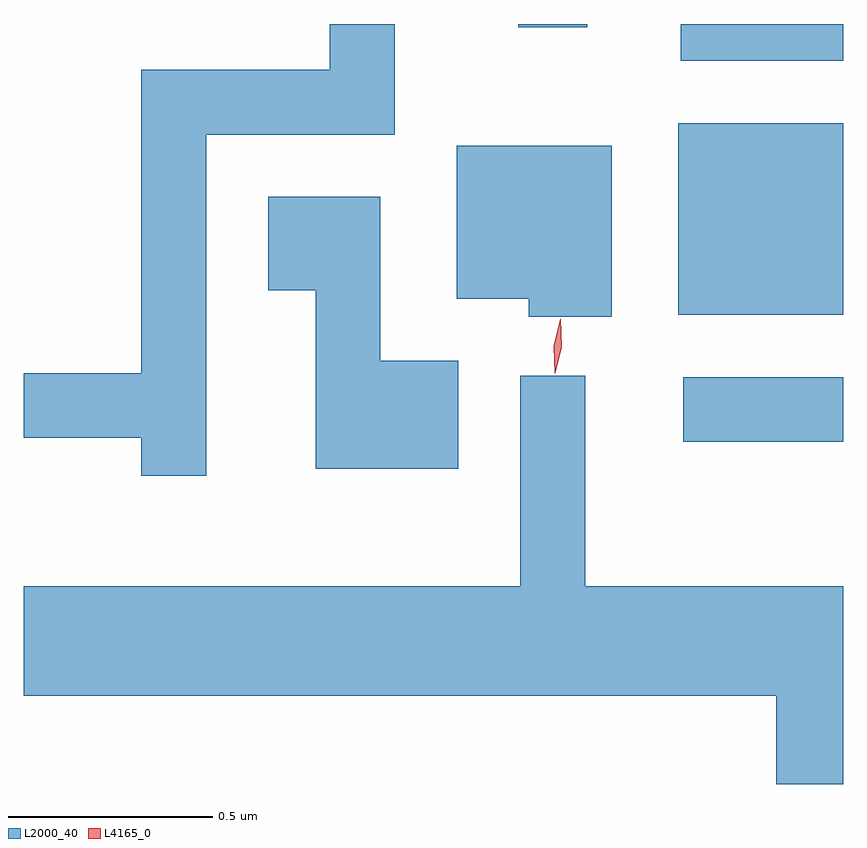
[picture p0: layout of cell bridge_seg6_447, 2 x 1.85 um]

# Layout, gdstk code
import gdstk
lib = gdstk.Library(unit=1e-6, precision=1e-09)
def R(c, l, rs):  # rectangles x0, y0, x1, y1
    for r in rs: c.add(gdstk.rectangle(r[:2], r[2:], *l))
def P(c, l, *ps):  # polygons
    for p in ps: c.add(gdstk.Polygon(p, *l))
L2000_40 = (2000, 40)
L4165_0 = (4165, 0)

bridge_seg6_447 = lib.new_cell('bridge_seg6_447')
R(bridge_seg6_447, L2000_40, [(886.483,1606.156,886.874,1606.314), (886.471,1606.466,886.874,1606.934), (886.478,1607.086,886.874,1607.176), (886.081,1607.168,886.249,1607.176)])
P(bridge_seg6_447, L2000_40, [(885.319,1606.906),(885.779,1606.906),(885.779,1607.176),(885.621,1607.176),(885.621,1607.064),(885.161,1607.064),(885.161,1606.324),(884.874,1606.324),(884.874,1606.166),(885.161,1606.166),(885.161,1606.073),(885.319,1606.073)],
  [(886.309,1606.879),(885.931,1606.879),(885.931,1606.506),(886.106,1606.506),(886.106,1606.461),(886.309,1606.461)],
  [(885.934,1606.354),(885.744,1606.354),(885.744,1606.754),(885.471,1606.754),(885.471,1606.526),(885.586,1606.526),(885.586,1606.091),(885.934,1606.091)],
  [(886.874,1605.804),(886.244,1605.804),(886.244,1606.318),(886.086,1606.318),(886.086,1605.804),(884.874,1605.804),(884.874,1605.536),(886.711,1605.536),(886.711,1605.321),(886.874,1605.321)])
P(bridge_seg6_447, L4165_0, [(886.17,1606.323),(886.17,1606.323),(886.167,1606.39),(886.183,1606.455),(886.183,1606.456),(886.184,1606.455),(886.187,1606.388),(886.171,1606.323)])

lib.write_gds('bridge_seg6_447.gds')
